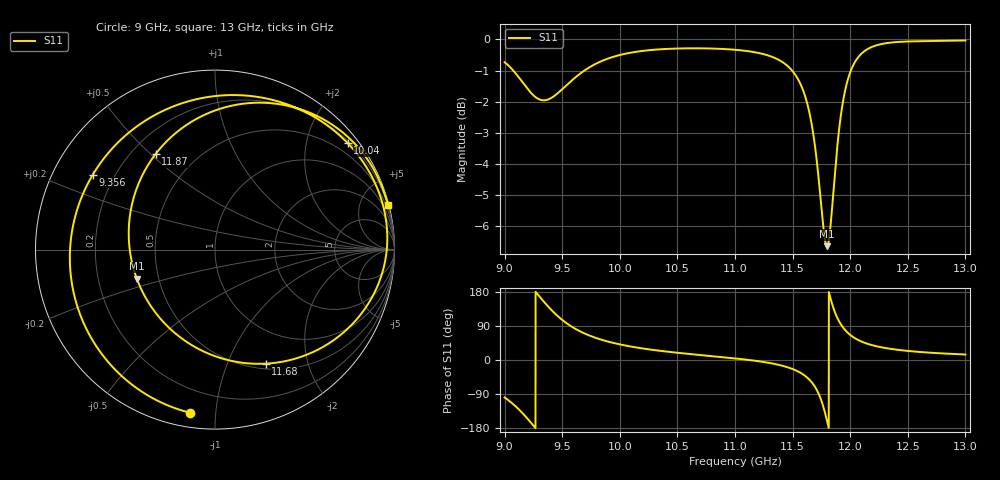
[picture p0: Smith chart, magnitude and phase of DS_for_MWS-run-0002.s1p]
! TOUCHSTONE file generated by CST DESIGN STUDIO
! Date and time: Tue Feb  4 14:19:18 2025
! Project name: C:\Work\MatlabApps\UnitCellOptimizationMatlab\CST\unitcell.cst
! Tree item: Tasks\Sweep1\SPara1\S-Parameters
! Header version: 2024
! Port assignment regex: !\s*Touchstone port\s*([0-9]+)\s*=\s*(CST MWS port|CST DES external port|CST DES block port)\s*(.+)\s* \(\"(.*)\"\)(\s*mode\s*([0-9]+))?.*
! Touchstone port assignment:
! Touchstone port 1 = CST DES external port 1 ("")
# GHz S MA R 50
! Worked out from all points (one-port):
!   4001 points, 9 GHz to 13 GHz, reference 50 ohm
!   lowest |S11| = -6.7 dB at 11.8 GHz (marker M1), VSWR 2.74, Z = 18.8 - j7.76 ohm
!   |S11| at or under -10 dB: nowhere
!   S11 on the Smith chart (normalised r, x): 9 GHz: 0.07, -0.85; 9.356 GHz: 0.12, +0.28; 10.04 GHz: 0.24, +2.83; 11.68 GHz: 0.56, -1.38; 11.87 GHz: 0.30, +0.52; 13 GHz: 0.11, +7.83
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9  0.9192 -98.9
9.104  0.8784 -124.6
9.209  0.8288 -158.4
9.28  0.8049 175.8
9.356  0.7987 148.5
9.427  0.8101 125.6
9.5  0.8316 105.8
9.598  0.8638 85.1
9.728  0.9 65.6
9.854  0.9251 52.3
10  0.9441 41.2
10.04  0.9479 38.7
10.5  0.9671 19.1
11  0.9627 4.2
11.318  0.9383 -8.9
11.5  0.8892 -23.8
11.604  0.8155 -40.8
11.684  0.6953 -66.0
11.744  0.5518 -102.3
11.798  0.4649 -159.6
11.834  0.5125 157.3
11.873  0.6275 121.7
11.928  0.7752 90.0
12  0.8855 66.2
12.078  0.9405 51.5
12.177  0.9707 40.3
12.5  0.9927 23.9
13  0.9964 14.6
